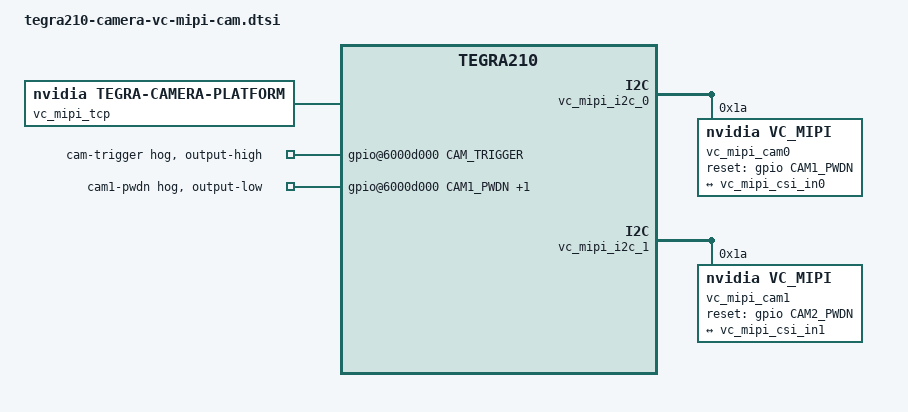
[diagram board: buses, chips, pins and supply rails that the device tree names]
/*
 * Copyright (c) 2018-2019, NVIDIA CORPORATION.  All rights reserved.
 *
 * This program is free software; you can redistribute it and/or modify
 * it under the terms of the GNU General Public License as published by
 * the Free Software Foundation; either version 2 of the License, or
 * (at your option) any later version.
 *
 * This program is distributed in the hope that it will be useful, but WITHOUT
 * ANY WARRANTY; without even the implied warranty of MERCHANTABILITY or
 * FITNESS FOR A PARTICULAR PURPOSE.  See the GNU General Public License for
 * more details.
 *
 * You should have received a copy of the GNU General Public License
 * along with this program.  If not, see <http://www.gnu.org/licenses/>.
 */

#include <dt-bindings/media/camera.h>
#include <dt-bindings/platform/t210/t210.h>

// ------------------------------------------------------------------------------------------------
//  Driver Configuration
// ------------------------------------------------------------------------------------------------
#define VC_MIPI_CAM_AB      1   // 0: Disabled, 1: Enabled
#define VC_MIPI_CAM_CD      1   // 0: Disabled, 1: Enabled
#define VC_MIPI_CAM_E       0   // 0: Disabled, 1: Enabled
#define VC_MIPI_CAM_F       0   // 0: Disabled, 1: Enabled
#define VC_MIPI_LANES       4   // 1, 2, 4 Lanes
#define VC_MIPI_OMNI_VISION 0   // 0: Sony Sensor, 1: Omni Vision Sensor
// ------------------------------------------------------------------------------------------------

#if VC_MIPI_LANES == 1
    #define BUS_WIDTH 1
    #define NUM_LANES "1" 
    #define NUM_CSI_LANES 2
#endif
#if VC_MIPI_LANES == 2
    #define BUS_WIDTH 2
    #define NUM_LANES "2" 
    #define NUM_CSI_LANES 4
#endif
#if VC_MIPI_LANES == 4
    #define BUS_WIDTH 4
    #define NUM_LANES "4" 
    #define NUM_CSI_LANES 8
#endif

#if VC_MIPI_CAM_AB == 1 && VC_MIPI_CAM_CD == 1
    #define VC_MIPI_CAMERAS 2
#else
    #define VC_MIPI_CAMERAS 1
#endif

/ {
    host1x {
        vc_mipi_vi_base: vi {
            num-channels = <VC_MIPI_CAMERAS>;
            #address-cells = <1>;
            #size-cells = <0>;
            ports {
                #address-cells = <1>;
                #size-cells = <0>;
#if VC_MIPI_CAM_AB == 1
                vc_mipi_vi_port0: port@0 {
                    reg = <0>;
                    vc_mipi_vi_in0: endpoint {
                        port-index = <0>;
                        bus-width = <BUS_WIDTH>;
                        remote-endpoint = <&vc_mipi_csi_out0>;
                    };
                };
#endif
#if VC_MIPI_CAM_CD == 1
                vc_mipi_vi_port1: port@1 {
                    reg = <1>;
                    vc_mipi_vi_in1: endpoint {
                        port-index = <2>;
                        bus-width = <BUS_WIDTH>;
                        remote-endpoint = <&vc_mipi_csi_out1>;
                    };
                };
#endif
#if VC_MIPI_CAM_E == 1
                vc_mipi_vi_port2: port@2 {
                    reg = <2>;
                    vc_mipi_vi_in2: endpoint {
                        port-index = <4>;
                        bus-width = <BUS_WIDTH>;
                        remote-endpoint = <&vc_mipi_csi_out2>;
                    };
                };
#endif
#if VC_MIPI_CAM_F == 1
                vc_mipi_vi_port3: port@3 {
                    reg = <3>;
                    vc_mipi_vi_in3: endpoint {
                        port-index = <6>;
                        bus-width = <BUS_WIDTH>;
                        remote-endpoint = <&vc_mipi_csi_out3>;
                    };
                };
#endif
            };
        };

        vc_mipi_csi_base: nvcsi {
            num-channels = <VC_MIPI_CAMERAS>;
            #address-cells = <1>;
            #size-cells = <0>;
#if VC_MIPI_CAM_AB == 1
            vc_mipi_csi_chan0: channel@0 {
                reg = <0>;
                ports {
                    #address-cells = <1>;
                    #size-cells = <0>;
                    vc_mipi_csi_chan0_port0: port@0 {
                        reg = <0>;
                        vc_mipi_csi_in0: endpoint@0 {
                            port-index = <0>;
                            bus-width = <BUS_WIDTH>;
                            remote-endpoint = <&vc_mipi_out0>;
                        };
                    };
                    vc_mipi_csi_chan0_port1: port@1 {
                        reg = <1>;
                        vc_mipi_csi_out0: endpoint@1 {
                            remote-endpoint = <&vc_mipi_vi_in0>;
                        };
                    };
                };
            };
#endif
#if VC_MIPI_CAM_CD == 1
            vc_mipi_csi_chan1: channel@1 {
                reg = <1>;
                ports {
                    #address-cells = <1>;
                    #size-cells = <0>;
                    vc_mipi_csi_chan1_port0: port@2 {
                        reg = <0>;
                        vc_mipi_csi_in1: endpoint@2 {
                            port-index = <2>;
                            bus-width = <BUS_WIDTH>;
                            remote-endpoint = <&vc_mipi_out1>;
                        };
                    };
                    vc_mipi_csi_chan1_port1: port@3 {
                        reg = <1>;
                        vc_mipi_csi_out1: endpoint@3 {
                            remote-endpoint = <&vc_mipi_vi_in1>;
                        };
                    };
                };
            };
#endif
#if VC_MIPI_CAM_E == 1
            vc_mipi_csi_chan2: channel@2 {
                reg = <2>;
                ports {
                    #address-cells = <1>;
                    #size-cells = <0>;
                    vc_mipi_csi_chan2_port0: port@4 {
                        reg = <0>;
                        vc_mipi_csi_in2: endpoint@4 {
                            port-index = <4>;
                            bus-width = <BUS_WIDTH>;
                            remote-endpoint = <&vc_mipi_out2>;
                        };
                    };
                    vc_mipi_csi_chan2_port1: port@5 {
                        reg = <1>;
                        vc_mipi_csi_out2: endpoint@5 {
                            remote-endpoint = <&vc_mipi_vi_in2>;
                        };
                    };
                };
            };
 #endif
 #if VC_MIPI_CAM_F == 1
            vc_mipi_csi_chan3: channel@3 {
                reg = <3>;
                ports {
                    #address-cells = <1>;
                    #size-cells = <0>;
                    vc_mipi_csi_chan3_port0: port@6 {
                        reg = <0>;
                        vc_mipi_csi_in3: endpoint@6 {
                            port-index = <6>;
                            bus-width = <BUS_WIDTH>;
                            remote-endpoint = <&vc_mipi_out3>;
                        };
                    };
                    vc_mipi_csi_chan3_port1: port@7 {
                        reg = <1>;
                        vc_mipi_csi_out3: endpoint@7 {
                            remote-endpoint = <&vc_mipi_vi_in3>;
                        };
                    };
                };
            };
#endif
        };

#if VC_MIPI_CAM_AB == 1
        vc_mipi_i2c_0: i2c@546c0000 {
#if VC_MIPI_OMNI_VISION == 1
            vc_mipi_cam0: vc_mipi@60 {
                reg                     = <0x60>;
#else
            vc_mipi_cam0: vc_mipi@1a {
                reg                     = <0x1a>;
#endif
                compatible              = "nvidia,vc_mipi";
                devnode                 = "video0";
                use_sensor_mode_id      = "false";

                num_lanes               = NUM_LANES;
                trigger_mode            = "0";
                flash_mode              = "0";

                // This settings are needed by the Tegra framework. 
                // They are used to calculate lens distortion
                sensor_model            = "vc_mipi";
                physical_w              = "3.680";
                physical_h              = "2.760";

                // This node is needed by the Tegra framework.
                // All properties are set by the driver on runtime.
                //
                // If you want to use the GStreamer with nvarguscamerasrc
                // you have to adjust following settings:
                //   - pix_clk_hz
                //   - active_w, active_h, line_length
                //   - pixel_t
                mode0 {
                    num_lanes                = NUM_LANES;
                    tegra_sinterface         = "serial_a";
                    phy_mode                 = "DPHY";

                    discontinuous_clk        = "no";
                    mclk_khz                 = "24000";
                    // 182400000 => Image width is to long! (TEGRA_VI_CSI_ERROR_STATUS: 0x0001, port: 0)
                    pix_clk_hz               = "800000000";
                    cil_settletime           = "0";

                    dpcm_enable              = "false";
                    mclk_multiplier          = "9.33";

                    inherent_gain            = "1";
                    min_hdr_ratio            = "1";
                    max_hdr_ratio            = "1";
                    readout_orientation      = "0";

                    active_w                 = "1000";          // 5440, 1920
                    active_h                 = "1000";          // 3648, 1080
                    line_length              = "1000";          // 5440, 2048
                    pixel_t                  = "bayer_rggb";

                    gain_factor              = "1";
                    min_gain_val             = "0";
                    max_gain_val             = "100000";
                    step_gain_val            = "1";
                    default_gain             = "0";

                    exposure_factor          = "1";             // 1000
                    min_exp_time             = "1";
                    max_exp_time             = "100000000";     // 10000000000
                    step_exp_time            = "1";
                    default_exp_time         = "10000";

                    framerate_factor         = "1";
                    min_framerate            = "0";
                    max_framerate            = "1000";
                    step_framerate           = "1";
                    default_framerate        = "1000";

                    embedded_metadata_height = "0";
                };

                ports {
                    #address-cells = <1>;
                    #size-cells = <0>;

                    port@0 {
                        reg = <0>;
                        vc_mipi_out0: endpoint {
                            port-index = <0>;
                            bus-width = <BUS_WIDTH>;
                            remote-endpoint = <&vc_mipi_csi_in0>;
                        };
                    };
                };
            };
        };
#endif
#if VC_MIPI_CAM_CD == 1
        vc_mipi_i2c_1: i2c@7000c000 {
#if VC_MIPI_OMNI_VISION == 1
            vc_mipi_cam1: vc_mipi@60 {
                reg                     = <0x60>;
#else
            vc_mipi_cam1: vc_mipi@1a {
                reg                     = <0x1a>;
#endif
                compatible              = "nvidia,vc_mipi";              
                devnode                 = "video1";
                use_sensor_mode_id      = "false";

                num_lanes               = NUM_LANES;
                trigger_mode            = "0";
                flash_mode              = "0";

                // This settings are needed by the Tegra framework. 
                // They are used to calculate lens distortion
                sensor_model            = "vc_mipi";
                physical_w              = "3.680";
                physical_h              = "2.760";

                // This node is needed by the Tegra framework.
                // All properties are set by the driver on runtime.
                //
                // If you want to use the GStreamer with nvarguscamerasrc
                // you have to adjust following settings:
                //   - pix_clk_hz
                //   - active_w, active_h, line_length
                //   - pixel_t
                mode0 {
                    num_lanes                = NUM_LANES;
                    tegra_sinterface         = "serial_a";
                    phy_mode                 = "DPHY";

                    discontinuous_clk        = "no";
                    mclk_khz                 = "24000";
                    // 182400000 => Image width is to long! (TEGRA_VI_CSI_ERROR_STATUS: 0x0001, port: 0)
                    pix_clk_hz               = "800000000";
                    cil_settletime           = "0";

                    dpcm_enable              = "false";
                    mclk_multiplier          = "9.33";

                    inherent_gain            = "1";
                    min_hdr_ratio            = "1";
                    max_hdr_ratio            = "1";
                    readout_orientation      = "0";

                    active_w                 = "1000";          // 5440, 1920
                    active_h                 = "1000";          // 3648, 1080
                    line_length              = "1000";          // 5440, 2048
                    pixel_t                  = "bayer_rggb";

                    gain_factor              = "1";
                    min_gain_val             = "0";
                    max_gain_val             = "100000";
                    step_gain_val            = "1";
                    default_gain             = "0";

                    exposure_factor          = "1";             // 1000
                    min_exp_time             = "1";
                    max_exp_time             = "100000000";     // 10000000000
                    step_exp_time            = "1";
                    default_exp_time         = "10000";

                    framerate_factor         = "1";
                    min_framerate            = "0";
                    max_framerate            = "1000";
                    step_framerate           = "1";
                    default_framerate        = "1000";

                    embedded_metadata_height = "0";
                };

                ports {
                    #address-cells = <1>;
                    #size-cells = <0>;

                    port@0 {
                        reg = <0>;
                        vc_mipi_out1: endpoint {
                            port-index = <2>;
                            bus-width = <BUS_WIDTH>;
                            remote-endpoint = <&vc_mipi_csi_in1>;
                        };
                    };
                };
            };
        };
#endif
    };
      
#if VC_MIPI_CAM_E == 1
    vc_mipi_i2c_2: i2c@7000c400 {
#if VC_MIPI_OMNI_VISION == 1
            vc_mipi_cam2: vc_mipi@60 {
                reg                     = <0x60>;
#else
            vc_mipi_cam2: vc_mipi@1a {
                reg                     = <0x1a>;
#endif
            compatible              = "nvidia,vc_mipi";              
            devnode                 = "video2";
            use_sensor_mode_id      = "false";

            // TODO

            ports {
                #address-cells = <1>;
                #size-cells = <0>;

                port@0 {
                    reg = <0>;
                    vc_mipi_out2: endpoint {
                        port-index = <4>;
                        bus-width = <BUS_WIDTH>;
                        remote-endpoint = <&vc_mipi_csi_in2>;
                    };
                };
            };
        };
    };
#endif
#if VC_MIPI_CAM_F == 1
    vc_mipi_i2c_3: i2c@7000c500 {
#if VC_MIPI_OMNI_VISION == 1
            vc_mipi_cam3: vc_mipi@60 {
                reg                     = <0x60>;
#else
            vc_mipi_cam3: vc_mipi@1a {
                reg                     = <0x1a>;
#endif
            compatible              = "vc,vc_mipi";              
            devnode                 = "video3";
            use_sensor_mode_id      = "false";

            // TODO

            ports {
                #address-cells = <1>;
                #size-cells = <0>;

                port@0 {
                    reg = <0>;
                    vc_mipi_out3: endpoint {
                        port-index = <6>;
                        bus-width = <BUS_WIDTH>;
                        remote-endpoint = <&vc_mipi_csi_in3>;
                    };
                };
            };
        };
    };
#endif

    lens_vc_mipi@RBPCV2 {
        min_focus_distance  = "0.0";
        hyper_focal         = "0.0";
        focal_length        = "1.0";
        f_number            = "2.0";
        aperture            = "0.0";
    };
};

/ {
    vc_mipi_tcp: tegra-camera-platform {
        compatible = "nvidia, tegra-camera-platform";

        num_csi_lanes = <NUM_CSI_LANES>;
        max_lane_speed = <1500000>;
        min_bits_per_pixel = <10>;
        vi_peak_byte_per_pixel = <2>;
        vi_bw_margin_pct = <25>;
        max_pixel_rate = <240000>;
        isp_peak_byte_per_pixel = <5>;
        isp_bw_margin_pct = <25>;

        /**
         * The general guideline for naming badge_info contains 3 parts, and is as follows,
         * The first part is the camera_board_id for the module; if the module is in a FFD
         * platform, then use the platform name for this part.
         * The second part contains the position of the module, ex. "rear" or "front".
         * The third part contains the last 6 characters of a part number which is found
         * in the module's specsheet from the vendor.
         */
        modules {
#if VC_MIPI_CAM_AB == 1
            vc_mipi_cam_module0: module0 {
                status = "okay";
                badge = "porg_topleft_RBPCV2";
                position = "topleft";
                orientation = "1";
                vc_mipi_cam_module0_drivernode0: drivernode0 {
                    status = "okay";
                    pcl_id = "v4l2_sensor";
#if VC_MIPI_OMNI_VISION == 1
                    devname = "vc_mipi 6-0060";
                    proc-device-tree = "/proc/device-tree/host1x/i2c@546c0000/vc_mipi@60";
#else
                    devname = "vc_mipi 6-001a";
                    proc-device-tree = "/proc/device-tree/host1x/i2c@546c0000/vc_mipi@1a";
#endif
                };
                vc_mipi_cam_module0_drivernode1: drivernode1 {
                    status = "okay";
                    pcl_id = "v4l2_lens";
                    proc-device-tree = "/proc/device-tree/lens_vc_mipi@RBPCV2/";
                };
            };
#endif
#if VC_MIPI_CAM_CD == 1
            vc_mipi_cam_module1: module1 {
                status = "okay";
                badge = "porg_topright_RBPCV2";
                position = "topright";
                orientation = "1";
                vc_mipi_cam_module1_drivernode0: drivernode0 {
                    status = "okay";
                    pcl_id = "v4l2_sensor";
#if VC_MIPI_OMNI_VISION == 1
                    devname = "vc_mipi 0-0060";
                    proc-device-tree = "/proc/device-tree/host1x/i2c@7000c000/vc_mipi@60";
#else
                    devname = "vc_mipi 0-001a";
                    proc-device-tree = "/proc/device-tree/host1x/i2c@7000c000/vc_mipi@1a";
#endif
                };
                vc_mipi_cam_module1_drivernode1: drivernode1 {
                    status = "okay";
                    pcl_id = "v4l2_lens";
                    proc-device-tree = "/proc/device-tree/lens_vc_mipi@RBPCV2/";
                };
            };
#endif
#if VC_MIPI_CAM_E == 1
            vc_mipi_cam_module2: module2 {
                status = "okay";
                badge = "porg_bottomleft_RBPCV2";
                position = "bottomleft";
                orientation = "1";
                vc_mipi_cam_module2_drivernode0: drivernode0 {
                    status = "okay";
                    pcl_id = "v4l2_sensor";
#if VC_MIPI_OMNI_VISION == 1
                    devname = "vc_mipi 1-0060";
                    proc-device-tree = "/proc/device-tree/i2c@7000c400/vc_mipi@60";
#else
                    devname = "vc_mipi 1-001a";
                    proc-device-tree = "/proc/device-tree/i2c@7000c400/vc_mipi@1a";
#endif
                };
                vc_mipi_cam_module2_drivernode1: drivernode1 {
                    status = "okay";
                    pcl_id = "v4l2_lens";
                    proc-device-tree = "/proc/device-tree/lens_vc_mipi@RBPCV2/";
                };
            };
#endif
#if VC_MIPI_CAM_F == 1
            vc_mipi_cam_module3: module3 {
                status = "okay";
                badge = "porg_bottomright_RBPCV2";
                position = "bottomright";
                orientation = "1";
                vc_mipi_cam_module3_drivernode0: drivernode0 {
                    status = "okay";
                    pcl_id = "v4l2_sensor";
#if VC_MIPI_OMNI_VISION == 1
                    devname = "vc_mipi 2-0060";
                    proc-device-tree = "/proc/device-tree/i2c@7000c500/vc_mipi@60";
#else
                    devname = "vc_mipi 2-001a";
                    proc-device-tree = "/proc/device-tree/i2c@7000c500/vc_mipi@1a";
#endif
                };
                vc_mipi_cam_module3_drivernode1: drivernode1 {
                    status = "okay";
                    pcl_id = "v4l2_lens";
                    proc-device-tree = "/proc/device-tree/lens_vc_mipi@RBPCV2/";
                };
            };
#endif
        };
    };
};

#define CAM1_PWDN       TEGRA_GPIO(S, 7)
#define CAM2_PWDN       TEGRA_GPIO(T, 0)
#define CAM3_PWDN		TEGRA_GPIO(S, 5)
#define CAM4_PWDN		TEGRA_GPIO(T, 1)
#define CAM_TRIGGER		TEGRA_GPIO(V, 0)

/ {
    host1x {
#if VC_MIPI_CAM_AB == 1
        i2c@546c0000 {
            status = "okay";
#if VC_MIPI_OMNI_VISION == 1
            vc_mipi@60 {
#else
            vc_mipi@1a {
#endif
                status = "okay";
                reset-gpios = <&gpio CAM1_PWDN GPIO_ACTIVE_HIGH>;
            };
        };
#endif
#if VC_MIPI_CAM_CD == 1
        i2c@7000c000 {
            status = "okay";
#if VC_MIPI_OMNI_VISION == 1
            vc_mipi@60 {
#else
            vc_mipi@1a {
#endif
                status = "okay";
                reset-gpios = <&gpio CAM2_PWDN GPIO_ACTIVE_HIGH>;
            };
        };
#endif
    };

#if VC_MIPI_CAM_E == 1
    i2c@7000c400 {
        status = "okay";
#if VC_MIPI_OMNI_VISION == 1
            vc_mipi@60 {
#else
            vc_mipi@1a {
#endif
            status = "okay";
            reset-gpios = <&gpio CAM3_PWDN GPIO_ACTIVE_HIGH>;
        };
    };
#endif
#if VC_MIPI_CAM_F == 1
    i2c@7000c500 {
        status = "okay";
#if VC_MIPI_OMNI_VISION == 1
            vc_mipi@60 {
#else
            vc_mipi@1a {
#endif
            status = "okay";
            reset-gpios = <&gpio CAM4_PWDN GPIO_ACTIVE_HIGH>;
        };
    };
#endif

    gpio@6000d000 {
        camera-trigger-high {
            status = "okay";
            gpio-hog;
            output-high;
            gpios = <CAM_TRIGGER 0>;
            label = "cam-trigger";
        };
 
        camera-control-output-low {
            gpio-hog;
            output-low;
            gpios = < CAM1_PWDN 0  CAM2_PWDN 0>;
            label = "cam1-pwdn", "cam2-pwdn";
        };
    };
};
